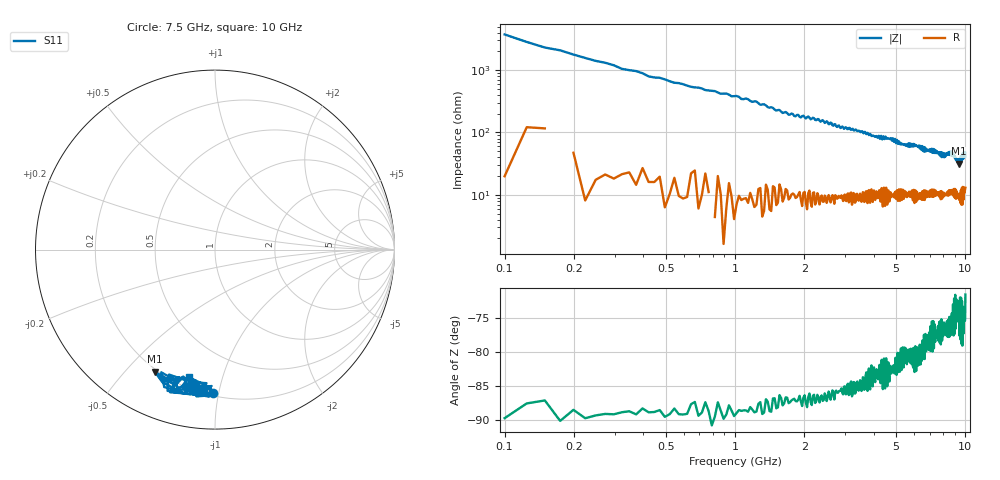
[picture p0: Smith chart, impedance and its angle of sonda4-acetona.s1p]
!Keysight Technologies N9917A: A.12.46
!Date: Friday, 23 February 2024 21:56:33
!TimeZone: (UTC-03:00) Buenos Aires!Model: N9917A
!Serial: MY56072049
!GPS Latitude:
!GPS Longitude:
!GPS TimeStamp: 0001-01-01 00:00:00Z
!GPS Seconds Since Last Read: 0
!CHECKSUM:1307276458
!Correction: S11(ON U)
!S1P File: Measurement: S11:
# Hz S DB R 50
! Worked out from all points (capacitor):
!   401 points, 100 MHz to 10 GHz, reference 50 ohm
!   read as one part to ground: C = 452 fF near 149.5 MHz
!   lowest |Z| = 31.7 ohm at 9.381 GHz (marker M1)
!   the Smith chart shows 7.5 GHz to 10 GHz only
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1e8  -0.00 -1.5
1.3375e9  -0.06 -20.0
1.75825e9  -0.21 -27.9
2.575e9  -0.36 -40.1
2.9215e9  -0.42 -43.5
3.8125e9  -0.97 -57.5
4.3075e9  -0.88 -58.7
4.456e9  -0.95 -64.9
4.8025e9  -1.08 -67.9
5.05e9  -1.25 -66.3
5.56975e9  -1.20 -75.3
5.9905e9  -1.50 -79.0
6.2875e9  -1.20 -77.8
6.4855e9  -1.40 -78.9
6.535e9  -1.70 -89.3
6.5845e9  -1.52 -80.6
7.0795e9  -1.86 -91.0
7.525e9  -1.93 -89.7
8.04475e9  -1.92 -94.0
8.44075e9  -1.91 -96.6
8.7625e9  -1.99 -96.1
9.23275e9  -2.36 -107.4
9.38125e9  -2.41 -116.3
9.5545e9  -2.54 -102.4
9.604e9  -1.62 -108.6
9.6535e9  -2.66 -98.6
9.802e9  -1.86 -105.7
1e10  -2.78 -101.5
